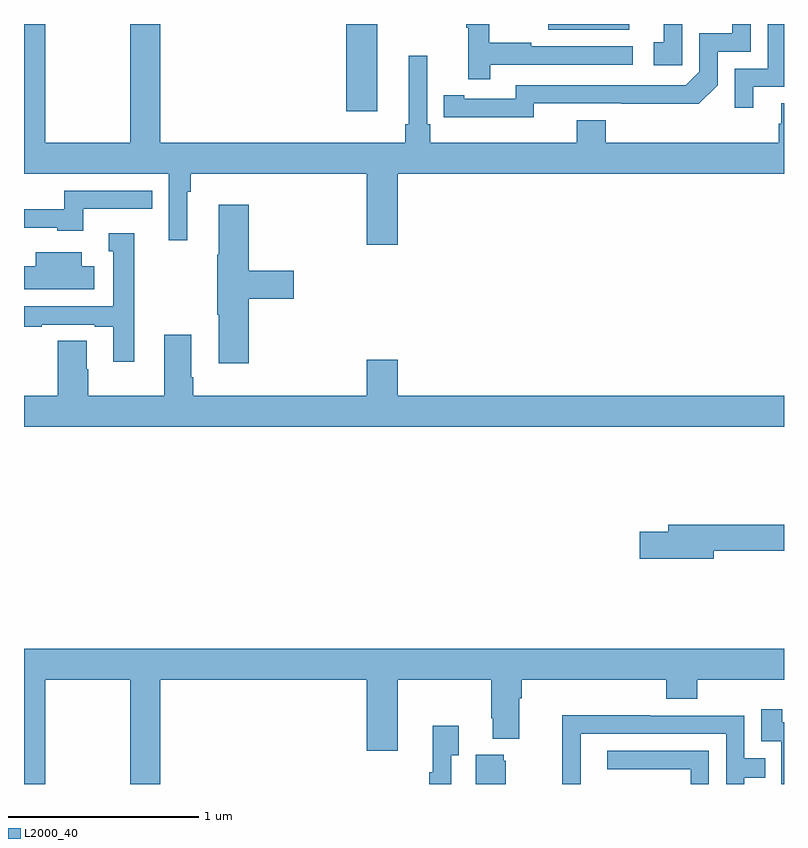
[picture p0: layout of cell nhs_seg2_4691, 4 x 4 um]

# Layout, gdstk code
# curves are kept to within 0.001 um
import gdstk
lib = gdstk.Library(unit=1e-6, precision=1e-09)
def R(c, l, rs):  # rectangles x0, y0, x1, y1
    for r in rs: c.add(gdstk.rectangle(r[:2], r[2:], *l))
def P(c, l, *ps):  # polygons
    for p in ps: c.add(gdstk.Polygon(p, *l))
L2000_40 = (2000, 40)

nhs_seg2_4691 = lib.new_cell('nhs_seg2_4691')
R(nhs_seg2_4691, L2000_40, [(368.696,605.34,368.86,605.8), (369.759,605.771,370.186,605.8)])
P(nhs_seg2_4691, L2000_40, [(370.837,605.469),(371,605.469),(371,605.8),(370.914,605.8),(370.914,605.565),(370.74,605.565),(370.74,605.358),(370.837,605.358)],
  [(369.684,605.382),(370.552,605.381),(370.65,605.478),(370.65,605.655),(370.824,605.655),(370.824,605.8),(370.727,605.8),(370.727,605.751),(370.554,605.751),(370.554,605.55),(370.482,605.478),(369.588,605.478),(369.588,605.406),(369.316,605.406),(369.316,605.426),(369.208,605.426),(369.208,605.31),(369.684,605.309)],
  [(368.968,605.012),(371,605.012),(371,605.384),(370.985,605.384),(370.985,605.274),(370.973,605.274),(370.973,605.176),(370.061,605.176),(370.061,605.293),(369.908,605.293),(369.908,605.176),(369.137,605.176),(369.137,605.272),(369.123,605.272),(369.123,605.632),(369.026,605.632),(369.026,605.272),(369.007,605.272),(369.007,605.176),(367.718,605.176),(367.718,605.8),(367.558,605.8),(367.558,605.176),(367.113,605.176),(367.113,605.8),(367,605.8),(367,605.012),(367.761,605.012),(367.761,604.662),(367.858,604.662),(367.858,604.916),(367.877,604.916),(367.877,605.012),(368.804,605.012),(368.804,604.638),(368.968,604.638)],
  [(369.455,605.586),(370.204,605.586),(370.204,605.682),(369.671,605.682),(369.671,605.702),(369.448,605.702),(369.448,605.8),(369.327,605.8),(369.327,605.779),(369.338,605.779),(369.338,605.508),(369.455,605.508)],
  [(370.464,605.8),(370.367,605.8),(370.367,605.703),(370.314,605.703),(370.314,605.583),(370.464,605.583)],
  [(367.312,604.827),(367.676,604.827),(367.676,604.923),(367.213,604.923),(367.213,604.824),(367,604.824),(367,604.728),(367.176,604.728),(367.176,604.712),(367.312,604.712)],
  [(368.183,604.355),(368.419,604.355),(368.419,604.502),(368.183,604.502),(368.183,604.849),(368.024,604.849),(368.024,604.585),(368.017,604.585),(368.017,604.271),(368.024,604.271),(368.024,604.014),(368.183,604.014)],
  [(367.579,604.699),(367.445,604.699),(367.445,604.605),(367.47,604.605),(367.47,604.314),(367,604.314),(367,604.206),(367.094,604.206),(367.094,604.218),(367.373,604.218),(367.373,604.206),(367.469,604.206),(367.469,604.023),(367.579,604.023)],
  [(367.369,604.525),(367.303,604.525),(367.303,604.6),(367.061,604.6),(367.061,604.525),(367,604.525),(367,604.403),(367.369,604.403)],
  [(371,603.844),(368.968,603.844),(368.968,604.033),(368.804,604.033),(368.804,603.844),(367.892,603.844),(367.892,603.94),(367.879,603.94),(367.879,604.165),(367.739,604.165),(367.739,603.844),(367.338,603.844),(367.338,603.983),(367.33,603.983),(367.33,604.133),(367.178,604.133),(367.178,603.844),(367,603.844),(367,603.68),(371,603.68)],
  [(370.63,603.028),(371,603.028),(371,603.164),(370.391,603.164),(370.391,603.128),(370.242,603.128),(370.242,602.986),(370.63,602.986)],
  [(367.113,602.348),(367.558,602.348),(367.558,601.8),(367.718,601.8),(367.718,602.348),(368.804,602.348),(368.804,601.974),(368.968,601.974),(368.968,602.348),(369.46,602.348),(369.46,602.146),(369.467,602.146),(369.467,602.039),(369.607,602.039),(369.607,602.252),(369.62,602.252),(369.62,602.348),(370.379,602.348),(370.379,602.249),(370.544,602.249),(370.544,602.348),(371,602.348),(371,602.512),(367,602.512),(367,601.8),(367.113,601.8)],
  [(371,602.124),(370.99,602.124),(370.99,602.194),(370.881,602.194),(370.881,602.025),(370.986,602.025),(370.986,601.8),(371,601.8)],
  [(369.93,601.81),(369.931,601.81),(369.931,602.064),(370.695,602.064),(370.695,601.8),(370.791,601.8),(370.791,601.834),(370.901,601.834),(370.901,601.935),(370.791,601.935),(370.791,602.16),(370.295,602.16),(370.295,602.162),(369.832,602.162),(369.832,601.855),(369.834,601.855),(369.834,601.8),(369.93,601.8)],
  [(369.249,601.951),(369.289,601.951),(369.289,602.107),(369.152,602.107),(369.152,601.862),(369.133,601.862),(369.133,601.8),(369.249,601.8)],
  [(370.605,601.974),(370.071,601.974),(370.071,601.878),(370.509,601.878),(370.509,601.8),(370.605,601.8)],
  [(369.535,601.923),(369.524,601.923),(369.524,601.954),(369.377,601.954),(369.377,601.8),(369.535,601.8)])

lib.write_gds('nhs_seg2_4691.gds')
